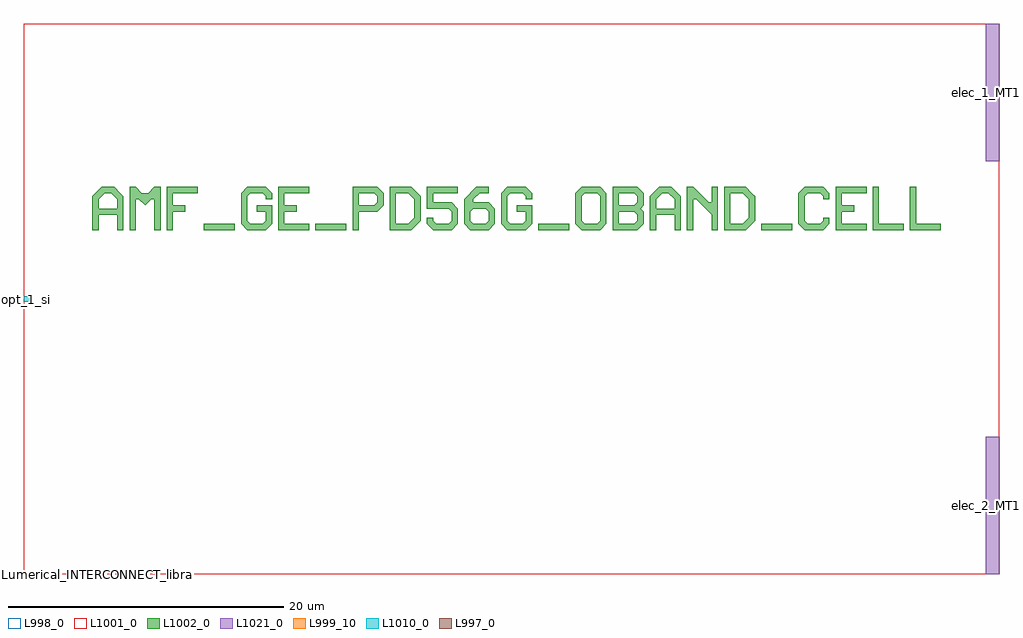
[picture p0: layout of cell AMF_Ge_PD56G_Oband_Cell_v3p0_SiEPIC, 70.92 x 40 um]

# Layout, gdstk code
import gdstk
lib = gdstk.Library(unit=1e-6, precision=1e-09)
def R(c, l, rs):  # rectangles x0, y0, x1, y1
    for r in rs: c.add(gdstk.rectangle(r[:2], r[2:], *l))
def A(c, l, x, y, w, h, nx, ny, dx, dy):  # array of equal rectangles
    R(c, l, [(x+i*dx, y+j*dy, x+i*dx+w, y+j*dy+h) for i in range(nx) for j in range(ny)])
def P(c, l, *ps):  # polygons
    for p in ps: c.add(gdstk.Polygon(p, *l))
L997_0 = (997, 0)
L998_0 = (998, 0)
L999_10 = (999, 10)
L1001_0 = (1001, 0)
L1002_0 = (1002, 0)
L1010_0 = (1010, 0)
L1021_0 = (1021, 0)

amf_ge_pd56g_oband_cell_ = lib.new_cell('AMF_Ge_PD56G_Oband_Cell_v3p0')
R(amf_ge_pd56g_oband_cell_, L1001_0, [(0,-20,70.9,20)])
A(amf_ge_pd56g_oband_cell_, L1002_0, 21.2, 5, 2.25, 0.45, 3, 1, 16.2, 0)
R(amf_ge_pd56g_oband_cell_, L1002_0, [(13.1,5,15.35,5.45)])
P(amf_ge_pd56g_oband_cell_, L1002_0, [(5,5),(5,7.475),(5.675,8.15),(6.575,8.15),(7.025,7.7),(5.9,7.7),(5.45,7.25),(5.45,6.575),(6.8,6.575),(6.8,7.25),(6.35,7.7),(7.025,7.7),(7.25,7.475),(7.25,5),(6.8,5),(6.8,6.125),(5.45,6.125),(5.45,5)],
  [(7.7,5),(7.7,8.15),(8.15,8.15),(8.6,7.7),(9.05,7.7),(9.5,8.15),(9.95,8.15),(9.95,5),(9.5,5),(9.5,7.25),(9.275,7.25),(8.825,6.8),(8.375,7.25),(8.15,7.25),(8.15,5)],
  [(10.4,5),(10.4,8.15),(12.65,8.15),(12.65,7.7),(10.85,7.7),(10.85,6.8),(11.75,6.8),(11.75,6.35),(10.85,6.35),(10.85,5)],
  [(16.25,5),(15.8,5.45),(15.8,7.7),(16.25,8.15),(17.6,8.15),(18.05,7.7),(18.05,7.25),(17.6,7.25),(17.6,7.475),(17.375,7.7),(16.475,7.7),(16.25,7.475),(16.25,5.675),(16.475,5.45),(17.375,5.45),(17.6,5.675),(17.6,6.35),(16.925,6.35),(16.925,6.8),(18.05,6.8),(18.05,5.45),(17.6,5)],
  [(18.5,5),(18.5,8.15),(20.75,8.15),(20.75,7.7),(18.95,7.7),(18.95,6.8),(19.85,6.8),(19.85,6.35),(18.95,6.35),(18.95,5.45),(20.75,5.45),(20.75,5)],
  [(23.9,5),(23.9,8.15),(25.7,8.15),(26.15,7.7),(26.15,6.8),(25.7,6.35),(24.35,6.35),(24.35,6.8),(25.475,6.8),(25.7,7.025),(25.7,7.475),(25.475,7.7),(24.35,7.7),(24.35,5)],
  [(26.6,5),(26.6,8.15),(28.175,8.15),(28.625,7.7),(27.05,7.7),(27.05,5.45),(27.95,5.45),(28.4,5.9),(28.4,7.25),(27.95,7.7),(28.625,7.7),(28.85,7.475),(28.85,5.675),(28.175,5)],
  [(29.75,5),(29.3,5.45),(29.3,5.9),(29.75,5.9),(29.75,5.675),(29.975,5.45),(30.875,5.45),(31.1,5.675),(31.1,6.35),(30.875,6.575),(29.3,6.575),(29.3,8.15),(31.55,8.15),(31.55,7.7),(29.75,7.7),(29.75,7.025),(31.1,7.025),(31.55,6.575),(31.55,5.45),(31.1,5)],
  [(32.45,5),(32,5.45),(32,7.25),(32.9,8.15),(33.8,8.15),(33.8,7.7),(33.125,7.7),(32.675,7.25),(32.675,7.025),(33.8,7.025),(34.25,6.575),(32.675,6.575),(32.45,6.35),(32.45,5.675),(32.675,5.45),(33.575,5.45),(33.8,5.675),(33.8,6.35),(33.575,6.575),(34.25,6.575),(34.25,5.45),(33.8,5)],
  [(35.15,5),(34.7,5.45),(34.7,7.7),(35.15,8.15),(36.5,8.15),(36.95,7.7),(36.95,7.25),(36.5,7.25),(36.5,7.475),(36.275,7.7),(35.375,7.7),(35.15,7.475),(35.15,5.675),(35.375,5.45),(36.275,5.45),(36.5,5.675),(36.5,6.35),(35.825,6.35),(35.825,6.8),(36.95,6.8),(36.95,5.45),(36.5,5)],
  [(40.55,5),(40.1,5.45),(40.1,7.7),(40.55,8.15),(41.9,8.15),(42.35,7.7),(42.35,6.575),(41.9,6.575),(41.9,7.475),(41.675,7.7),(40.775,7.7),(40.55,7.475),(40.55,5.675),(40.775,5.45),(41.675,5.45),(41.9,5.675),(41.9,6.575),(42.35,6.575),(42.35,5.45),(41.9,5)],
  [(42.8,5),(42.8,8.15),(44.6,8.15),(45.05,7.7),(43.25,7.7),(43.25,6.8),(44.375,6.8),(44.6,7.025),(44.6,7.475),(44.375,7.7),(45.05,7.7),(45.05,6.8),(44.825,6.575),(45.05,6.35),(43.25,6.35),(43.25,5.45),(44.375,5.45),(44.6,5.675),(44.6,6.125),(44.375,6.35),(45.05,6.35),(45.05,5.45),(44.6,5)],
  [(45.5,5),(45.5,7.475),(46.175,8.15),(47.075,8.15),(47.525,7.7),(46.4,7.7),(45.95,7.25),(45.95,6.575),(47.3,6.575),(47.3,7.25),(46.85,7.7),(47.525,7.7),(47.75,7.475),(47.75,5),(47.3,5),(47.3,6.125),(45.95,6.125),(45.95,5)],
  [(48.2,5),(48.2,8.15),(48.65,8.15),(49.775,7.025),(50,7.025),(50,8.15),(50.45,8.15),(50.45,5),(50,5),(50,6.125),(48.875,7.25),(48.65,7.25),(48.65,5)],
  [(50.9,5),(50.9,8.15),(52.475,8.15),(52.925,7.7),(51.35,7.7),(51.35,5.45),(52.25,5.45),(52.7,5.9),(52.7,7.25),(52.25,7.7),(52.925,7.7),(53.15,7.475),(53.15,5.675),(52.475,5)],
  [(56.75,5),(56.3,5.45),(56.3,7.7),(56.75,8.15),(58.1,8.15),(58.55,7.7),(58.55,7.25),(58.1,7.25),(58.1,7.475),(57.875,7.7),(56.975,7.7),(56.75,7.475),(56.75,5.675),(56.975,5.45),(57.875,5.45),(58.1,5.675),(58.1,5.9),(58.55,5.9),(58.55,5.45),(58.1,5)],
  [(59,5),(59,8.15),(61.25,8.15),(61.25,7.7),(59.45,7.7),(59.45,6.8),(60.35,6.8),(60.35,6.35),(59.45,6.35),(59.45,5.45),(61.25,5.45),(61.25,5)],
  [(61.7,5),(61.7,8.15),(62.15,8.15),(62.15,5.45),(63.95,5.45),(63.95,5)],
  [(64.4,5),(64.4,8.15),(64.85,8.15),(64.85,5.45),(66.65,5.45),(66.65,5)])
R(amf_ge_pd56g_oband_cell_, L1010_0, [(0,-0.205,0.5,0.205)])
R(amf_ge_pd56g_oband_cell_, L1021_0, [(69.9,-20,70.9,-10), (69.9,10,70.9,20)])
amf_ge_pd56g_oband_cell_.add(gdstk.Label('opt_1_si', (0,0), layer=1010, texttype=0))
amf_ge_pd56g_oband_cell_.add(gdstk.Label('elec_1_MT1', (70.9,15), layer=1021, texttype=0))
amf_ge_pd56g_oband_cell_.add(gdstk.Label('elec_2_MT1', (70.9,-15), layer=1021, texttype=0))

c_amf_ge_pd56g_oband_cell_ = lib.new_cell('AMF_Ge_PD56G_Oband_Cell_v3p0_SiEPIC')
R(c_amf_ge_pd56g_oband_cell_, L998_0, [(0,-20,70.9,20)])
c_amf_ge_pd56g_oband_cell_.add(gdstk.FlexPath([(0.01,0),(-0.01,0)], 0.41, ends="flush", simple_path=True, layer=997, datatype=0))  # L997_0
c_amf_ge_pd56g_oband_cell_.add(gdstk.FlexPath([(70.89,15),(70.91,15)], 10, ends="flush", simple_path=True, layer=999, datatype=10))  # L999_10
c_amf_ge_pd56g_oband_cell_.add(gdstk.FlexPath([(70.89,-15),(70.91,-15)], 10, ends="flush", simple_path=True, layer=999, datatype=10))  # L999_10
c_amf_ge_pd56g_oband_cell_.add(gdstk.Reference(amf_ge_pd56g_oband_cell_, (0,0)))
c_amf_ge_pd56g_oband_cell_.add(gdstk.Label('Lumerical_INTERCONNECT_library=Design kits/AMF_CML', (0,-20), layer=998, texttype=0))
c_amf_ge_pd56g_oband_cell_.add(gdstk.Label('Component=AMF_Ge_PD56G_Oband_Cell_v3p0', (0,-19.9), layer=998, texttype=0))
c_amf_ge_pd56g_oband_cell_.add(gdstk.Label('opt_1_si', (0,0), layer=997, texttype=0))
c_amf_ge_pd56g_oband_cell_.add(gdstk.Label('opt_1_si', (0,0), layer=997, texttype=0))
c_amf_ge_pd56g_oband_cell_.add(gdstk.Label('elec_1_MT1', (70.9,15), layer=999, texttype=10))
c_amf_ge_pd56g_oband_cell_.add(gdstk.Label('elec_2_MT1', (70.9,-15), layer=999, texttype=10))
c_amf_ge_pd56g_oband_cell_.add(gdstk.Label('elec_1_MT1', (70.9,15), layer=999, texttype=10))
c_amf_ge_pd56g_oband_cell_.add(gdstk.Label('elec_2_MT1', (70.9,-15), layer=999, texttype=10))

lib.write_gds('AMF_Ge_PD56G_Oband_Cell_v3p0_SiEPIC.gds')
